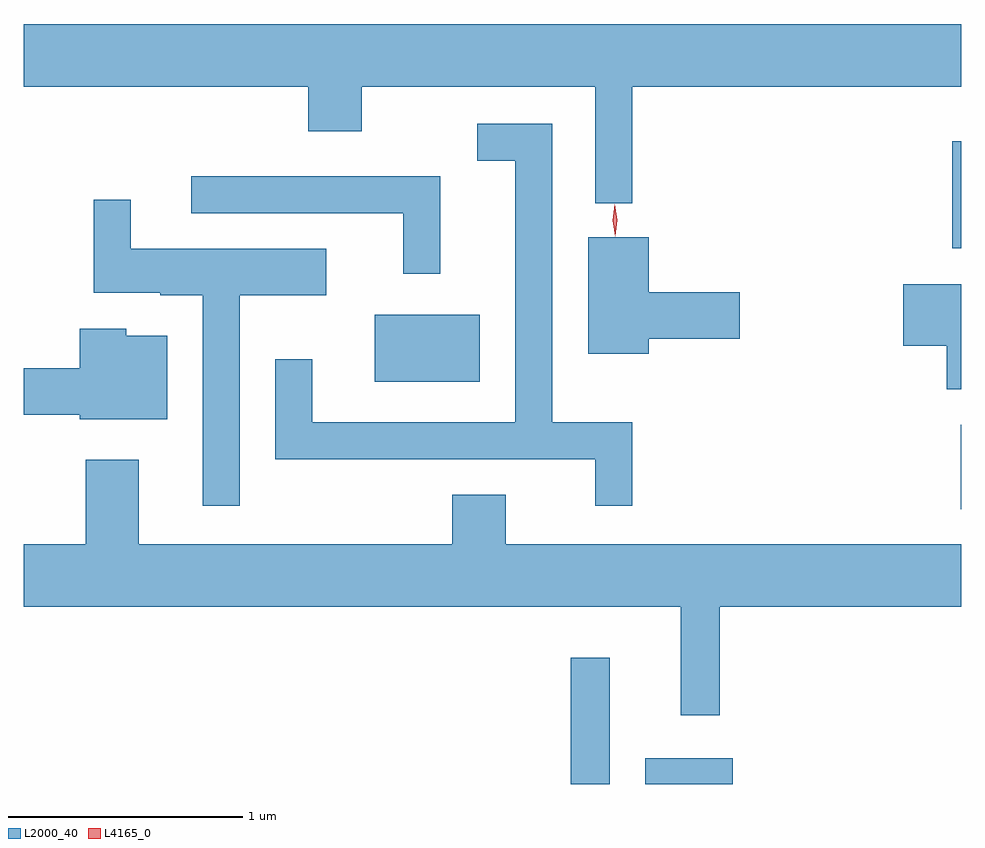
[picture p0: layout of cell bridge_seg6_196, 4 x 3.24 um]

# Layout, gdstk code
import gdstk
lib = gdstk.Library(unit=1e-6, precision=1e-09)
def R(c, l, rs):  # rectangles x0, y0, x1, y1
    for r in rs: c.add(gdstk.rectangle(r[:2], r[2:], *l))
def P(c, l, *ps):  # polygons
    for p in ps: c.add(gdstk.Polygon(p, *l))
L2000_40 = (2000, 40)
L4165_0 = (4165, 0)

bridge_seg6_196 = lib.new_cell('bridge_seg6_196')
R(bridge_seg6_196, L2000_40, [(1022.511,1595.9,1022.679,1596.438), (1022.831,1595.9,1023.204,1596.009), (1024.176,1597.073,1024.178,1597.434), (1021.676,1597.616,1022.124,1597.904), (1024.141,1598.186,1024.178,1598.644)])
P(bridge_seg6_196, L2000_40, [(1020.178,1598.876),(1021.391,1598.876),(1021.391,1598.686),(1021.619,1598.686),(1021.619,1598.876),(1022.616,1598.876),(1022.616,1598.378),(1022.774,1598.378),(1022.774,1598.876),(1024.178,1598.876),(1024.178,1599.144),(1020.178,1599.144)],
  [(1022.774,1597.444),(1022.434,1597.444),(1022.434,1598.719),(1022.113,1598.719),(1022.113,1598.561),(1022.276,1598.561),(1022.276,1597.444),(1021.409,1597.444),(1021.409,1597.713),(1021.251,1597.713),(1021.251,1597.286),(1022.616,1597.286),(1022.616,1597.088),(1022.774,1597.088)],
  [(1021.954,1598.494),(1020.893,1598.494),(1020.893,1598.336),(1021.796,1598.336),(1021.796,1598.078),(1021.954,1598.078)],
  [(1021.099,1597.986),(1021.469,1597.986),(1021.469,1598.184),(1020.634,1598.184),(1020.634,1598.393),(1020.476,1598.393),(1020.476,1597.996),(1020.76,1597.996),(1020.76,1597.986),(1020.941,1597.986),(1020.941,1597.088),(1021.099,1597.088)],
  [(1022.844,1597.801),(1023.234,1597.801),(1023.234,1597.999),(1022.844,1597.999),(1022.844,1598.234),(1022.586,1598.234),(1022.586,1597.736),(1022.844,1597.736)],
  [(1024.178,1598.034),(1023.931,1598.034),(1023.931,1597.771),(1024.116,1597.771),(1024.116,1597.586),(1024.178,1597.586)],
  [(1020.789,1597.814),(1020.614,1597.814),(1020.614,1597.844),(1020.416,1597.844),(1020.416,1597.674),(1020.178,1597.674),(1020.178,1597.476),(1020.416,1597.476),(1020.416,1597.456),(1020.789,1597.456)],
  [(1023.149,1596.656),(1024.178,1596.656),(1024.178,1596.924),(1022.234,1596.924),(1022.234,1597.134),(1022.006,1597.134),(1022.006,1596.924),(1020.669,1596.924),(1020.669,1597.284),(1020.441,1597.284),(1020.441,1596.924),(1020.178,1596.924),(1020.178,1596.656),(1022.981,1596.656),(1022.981,1596.193),(1023.149,1596.193)])
P(bridge_seg6_196, L4165_0, [(1022.702,1598.238),(1022.702,1598.238),(1022.691,1598.306),(1022.699,1598.375),(1022.7,1598.375),(1022.7,1598.375),(1022.711,1598.307),(1022.703,1598.238)],
  [(1022.702,1598.24),(1022.702,1598.241),(1022.691,1598.306),(1022.699,1598.371),(1022.7,1598.372),(1022.7,1598.371),(1022.711,1598.306),(1022.703,1598.241)])

lib.write_gds('bridge_seg6_196.gds')
